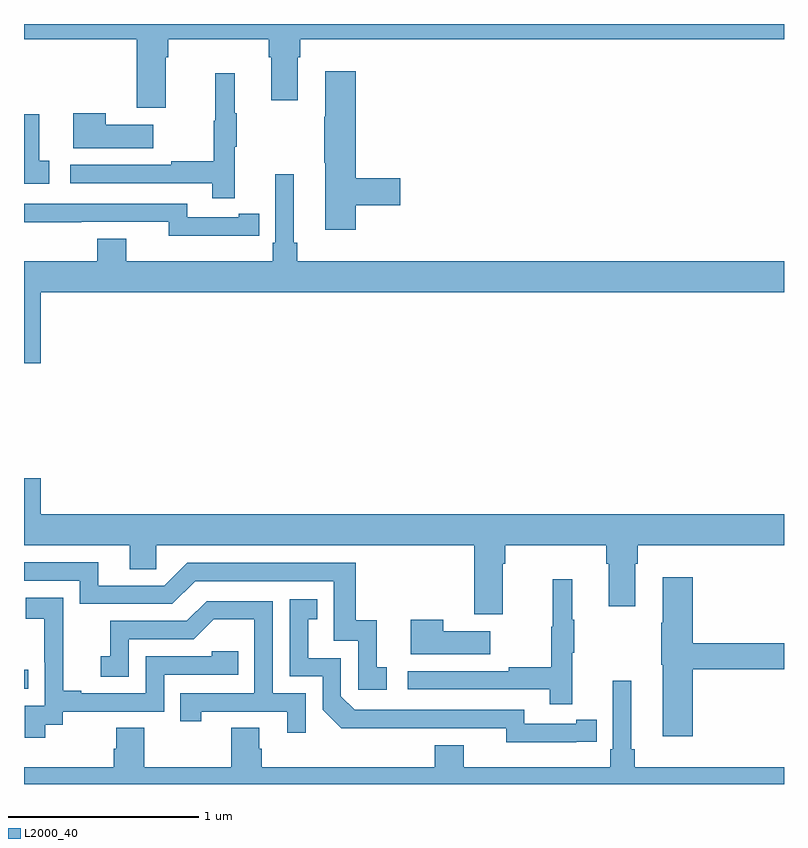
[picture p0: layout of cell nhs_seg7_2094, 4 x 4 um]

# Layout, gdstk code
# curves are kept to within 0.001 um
import gdstk
lib = gdstk.Library(unit=1e-6, precision=1e-09)
def R(c, l, rs):  # rectangles x0, y0, x1, y1
    for r in rs: c.add(gdstk.rectangle(r[:2], r[2:], *l))
def P(c, l, *ps):  # polygons
    for p in ps: c.add(gdstk.Polygon(p, *l))
L2000_40 = (2000, 40)

nhs_seg7_2094 = lib.new_cell('nhs_seg7_2094')
R(nhs_seg7_2094, L2000_40, [(249,1026.501,249.023,1026.602)])
P(nhs_seg7_2094, L2000_40, [(249.745,1029.824),(249.758,1029.824),(249.758,1029.92),(250.289,1029.92),(250.289,1029.824),(250.301,1029.824),(250.301,1029.6),(250.441,1029.6),(250.441,1029.824),(250.454,1029.824),(250.454,1029.92),(253,1029.92),(253,1030),(249,1030),(249,1029.92),(249.593,1029.92),(249.593,1029.558),(249.745,1029.558)],
  [(250.745,1029.046),(250.981,1029.046),(250.981,1029.188),(250.745,1029.188),(250.745,1029.751),(250.586,1029.751),(250.586,1029.512),(250.579,1029.512),(250.579,1029.271),(250.586,1029.271),(250.586,1028.916),(250.745,1028.916)],
  [(250.109,1029.355),(250.12,1029.355),(250.12,1029.529),(250.109,1029.529),(250.109,1029.742),(250.006,1029.742),(250.006,1029.492),(249.999,1029.492),(249.999,1029.278),(249.775,1029.278),(249.775,1029.258),(249.243,1029.258),(249.243,1029.162),(249.991,1029.162),(249.991,1029.084),(250.109,1029.084)],
  [(249.679,1029.469),(249.431,1029.469),(249.431,1029.529),(249.26,1029.529),(249.26,1029.347),(249.679,1029.347)],
  [(249.133,1029.279),(249.08,1029.279),(249.08,1029.526),(249,1029.526),(249,1029.159),(249.133,1029.159)],
  [(249.088,1028.588),(253,1028.588),(253,1028.752),(250.439,1028.752),(250.439,1028.848),(250.42,1028.848),(250.42,1029.208),(250.323,1029.208),(250.323,1028.848),(250.31,1028.848),(250.31,1028.752),(249.538,1028.752),(249.538,1028.869),(249.386,1028.869),(249.386,1028.752),(249,1028.752),(249,1028.214),(249.088,1028.214)],
  [(250.13,1028.886),(250.238,1028.886),(250.238,1029.002),(250.13,1029.002),(250.13,1028.982),(249.858,1028.982),(249.858,1029.054),(249,1029.054),(249,1028.957),(249.302,1028.957),(249.302,1028.958),(249.762,1028.958),(249.762,1028.885),(250.13,1028.885)],
  [(251.521,1027.16),(251.534,1027.16),(251.534,1027.256),(252.065,1027.256),(252.065,1027.16),(252.077,1027.16),(252.077,1026.936),(252.217,1026.936),(252.217,1027.16),(252.23,1027.16),(252.23,1027.256),(253,1027.256),(253,1027.42),(249.088,1027.42),(249.088,1027.609),(249,1027.609),(249,1027.256),(249.557,1027.256),(249.557,1027.129),(249.696,1027.129),(249.696,1027.256),(251.369,1027.256),(251.369,1026.894),(251.521,1026.894)],
  [(250.909,1026.615),(250.856,1026.615),(250.856,1026.862),(250.745,1026.862),(250.745,1027.164),(249.858,1027.164),(249.738,1027.044),(249.391,1027.044),(249.391,1027.167),(249,1027.167),(249,1027.071),(249.294,1027.071),(249.294,1026.948),(249.78,1026.948),(249.9,1027.068),(250.629,1027.068),(250.629,1026.753),(250.758,1026.753),(250.758,1026.495),(250.909,1026.495)],
  [(252.521,1026.604),(253,1026.604),(253,1026.74),(252.521,1026.74),(252.521,1027.087),(252.362,1027.087),(252.362,1026.848),(252.355,1026.848),(252.355,1026.627),(252.362,1026.627),(252.362,1026.252),(252.521,1026.252)],
  [(251.885,1026.691),(251.896,1026.691),(251.896,1026.865),(251.885,1026.865),(251.885,1027.078),(251.782,1027.078),(251.782,1026.828),(251.775,1026.828),(251.775,1026.614),(251.551,1026.614),(251.551,1026.594),(251.019,1026.594),(251.019,1026.498),(251.767,1026.498),(251.767,1026.42),(251.885,1026.42)],
  [(249.112,1026.313),(249.204,1026.313),(249.204,1026.381),(249.738,1026.381),(249.738,1026.576),(250.127,1026.576),(250.127,1026.699),(249.987,1026.699),(249.987,1026.672),(249.642,1026.672),(249.642,1026.477),(249.301,1026.477),(249.301,1026.49),(249.206,1026.49),(249.206,1026.773),(249.207,1026.773),(249.207,1026.979),(249.009,1026.979),(249.009,1026.869),(249.107,1026.869),(249.107,1026.641),(249.108,1026.641),(249.108,1026.411),(249.003,1026.411),(249.003,1026.243),(249.112,1026.243)],
  [(251.906,1026.222),(252.014,1026.222),(252.014,1026.338),(251.906,1026.338),(251.906,1026.318),(251.634,1026.318),(251.634,1026.39),(250.74,1026.39),(250.668,1026.462),(250.668,1026.663),(250.495,1026.663),(250.495,1026.867),(250.544,1026.867),(250.544,1026.973),(250.398,1026.973),(250.398,1026.567),(250.572,1026.567),(250.572,1026.39),(250.67,1026.293),(251.538,1026.294),(251.538,1026.221)],
  [(250.482,1026.477),(250.308,1026.477),(250.308,1026.963),(249.962,1026.963),(249.857,1026.858),(249.454,1026.858),(249.454,1026.673),(249.405,1026.673),(249.405,1026.564),(249.552,1026.564),(249.552,1026.762),(249.894,1026.762),(249.998,1026.866),(250.212,1026.866),(250.212,1026.477),(249.823,1026.477),(249.823,1026.33),(249.934,1026.33),(249.934,1026.381),(250.385,1026.381),(250.385,1026.27),(250.482,1026.27)],
  [(251.455,1026.805),(251.207,1026.805),(251.207,1026.865),(251.036,1026.865),(251.036,1026.683),(251.455,1026.683)],
  [(253,1026.088),(252.215,1026.088),(252.215,1026.184),(252.196,1026.184),(252.196,1026.544),(252.099,1026.544),(252.099,1026.184),(252.086,1026.184),(252.086,1026.088),(251.314,1026.088),(251.314,1026.205),(251.162,1026.205),(251.162,1026.088),(250.25,1026.088),(250.25,1026.186),(250.237,1026.186),(250.237,1026.296),(250.09,1026.296),(250.09,1026.088),(249.633,1026.088),(249.633,1026.296),(249.485,1026.296),(249.485,1026.186),(249.473,1026.186),(249.473,1026.088),(249,1026.088),(249,1026),(253,1026)])

lib.write_gds('nhs_seg7_2094.gds')
